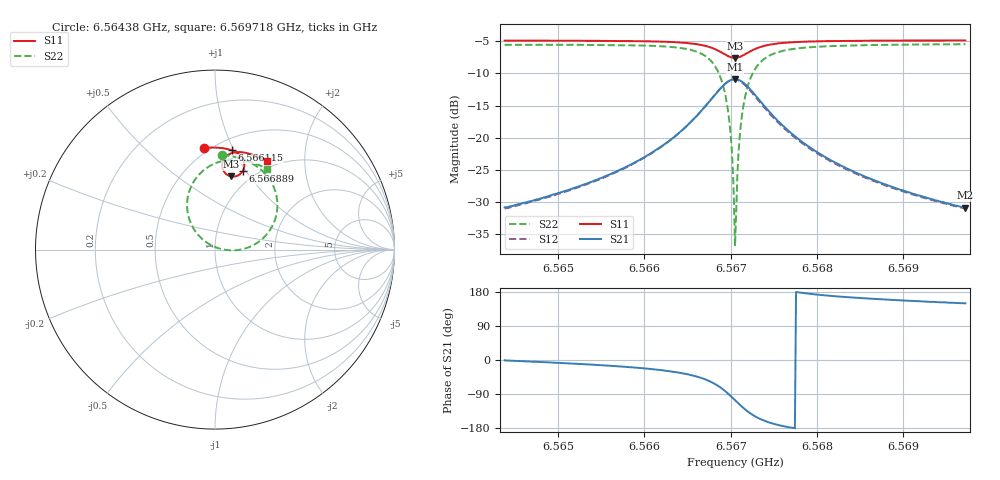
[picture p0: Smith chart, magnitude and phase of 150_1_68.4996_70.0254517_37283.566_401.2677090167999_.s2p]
#  HZ  S  RI  R  50.00
! Rohde & Schwarz Vector Network Analyzer
! Rohde-Schwarz,ZNB20-2Port,1311601062101988,3.16
! Created: UTC 3/20/2024, 4:55:14 PM
! freq[Hz]  re:S11  im:S11  re:S21  im:S21  re:S12  im:S12  re:S22  im:S22
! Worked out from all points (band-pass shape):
!   401 points, 6.56438 GHz to 6.569718 GHz, reference 50 ohm
!   highest |S21| = -10.89 dB at 6.567049 GHz (marker M1); lowest = -30.9 dB at 6.569718 GHz (marker M2)
!   |S21| within 3 dB of the highest: 6.566781 GHz to 6.567315 GHz (533.9 kHz wide, 0.00813 % of centre)
!   lowest |S11| = -7.6 dB at 6.567049 GHz (marker M3), VSWR 2.43, Z = 41.3 + j40.9 ohm
!   |S11| at or under -10 dB: nowhere
!   |S22| runs from -36.9 to -5.4 dB; largest |S21 - S12| = 0.014
!   S11 on the Smith chart (normalised r, x): 6.56438 GHz: 0.47, +0.78; 6.566115 GHz: 0.61, +0.98; 6.566889 GHz: 0.87, +0.96; 6.569718 GHz: 0.90, +1.32
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6.5643798e9  -0.0607 0.566  0.0287 -0.000398  0.0281 -0.00112  0.0407 0.5265
6.565274e9  0.0129 0.5678  0.0419 -0.00787  0.0413 -0.00861  0.1265 0.5126
6.5661147e9  0.0922 0.5536  0.0716 -0.033  0.0705 -0.0338  0.2383 0.46
6.5661681e9  0.0979 0.5513  0.0746 -0.0364  0.0736 -0.0374  0.2478 0.4525
6.5666752e9  0.1572 0.4999  0.1099 -0.1251  0.1073 -0.1276  0.3457 0.2798
6.5667953e9  0.1634 0.4683  0.1018 -0.1809  0.0975 -0.1844  0.3366 0.1733
6.5668887e9  0.1537 0.4363  0.0681 -0.2357  0.0603 -0.2387  0.2754 0.0707
6.5669421e9  0.1382 0.4192  0.0305 -0.2637  0.02 -0.2653  0.2055 0.0205
6.5669822e9  0.1214 0.4103  -0.00715 -0.2773  -0.0191 -0.2762  0.1365 -0.00125
6.5670089e9  0.1083 0.4072  -0.0353 -0.2803  -0.0477 -0.2776  0.0859 -0.00429
6.5670355e9  0.0945 0.4072  -0.0643 -0.278  -0.0767 -0.2727  0.0343 0.0032
6.5670489e9  0.0877 0.4083  -0.0787 -0.2745  -0.0905 -0.2682  0.00939 0.0109
6.5670622e9  0.081 0.4102  -0.0925 -0.2696  -0.1041 -0.2625  -0.0146 0.0209
6.5670756e9  0.0747 0.4128  -0.1059 -0.2635  -0.1168 -0.2554  -0.0371 0.0335
6.5671023e9  0.063 0.42  -0.13 -0.248  -0.1393 -0.2381  -0.0771 0.0645
6.5671423e9  0.0498 0.4345  -0.158 -0.2183  -0.1645 -0.2069  -0.1216 0.1204
6.5671957e9  0.0409 0.4565  -0.1793 -0.1745  -0.1821 -0.1628  -0.1511 0.1998
6.5672624e9  0.0408 0.4821  -0.1852 -0.1244  -0.1848 -0.1143  -0.1524 0.2879
6.5675026e9  0.0781 0.5309  -0.1422 -0.0281  -0.1391 -0.0239  -0.0542 0.4491
6.567943e9  0.1409 0.5431  -0.0814 0.00858  -0.0794 0.00989  0.0835 0.5006
6.5688372e9  0.2249 0.5231  -0.0394 0.0152  -0.0386 0.0154  0.214 0.4831
6.5697179e9  0.2904 0.4917  -0.0247 0.0144  -0.0241 0.0147  0.2922 0.4475
